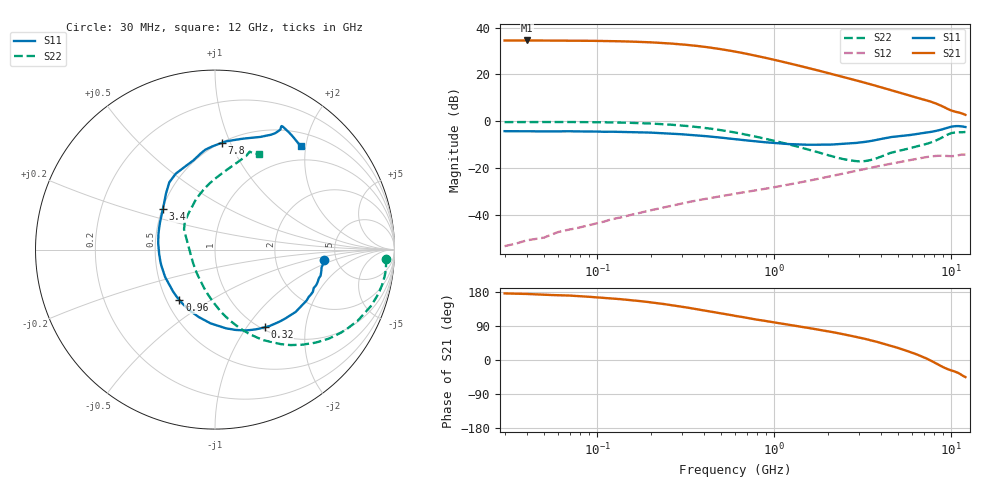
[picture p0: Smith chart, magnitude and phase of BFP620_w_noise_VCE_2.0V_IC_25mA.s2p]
! Infineon Technologies  Discrete & RF Semiconductors
! BFP620
! VCE =  2.0 V,  IC =  25 mA
! Common Emitter S-Parameters:  Nov 2015
# GHz  S  MA  R  50
!  f  S11  S21  S12  S22
! GHz  MAG  ANG  MAG  ANG  MAG  ANG  MAG  ANG
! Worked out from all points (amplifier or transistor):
!   239 points, 30 MHz to 12 GHz, reference 50 ohm
!   highest |S21| = 34.5 dB at 40 MHz (marker M1)
!   |S21| within 3 dB of that: start of sweep to 429.6 MHz
!   unconditionally stable (mu >= 1): 2.707 GHz to end of sweep
!   at 300 MHz: K = 0.33, MSG = 34.1 dB, |S12| = -35.3 dB
!   at 1.88 GHz: K = 0.93, MSG = 22.7 dB, |S12| = -24.3 dB
!   at 12 GHz: K = 1.10, MAG = 6.6 dB, |S12| = -14.3 dB
!   lowest NFmin = 1.05 dB at 450 MHz
!   S11 on the Smith chart (normalised r, x): 30 MHz: 3.97, -0.76; 320 MHz: 1.04, -1.22; 960 MHz: 0.58, -0.37; 3.4 GHz: 0.50, +0.26; 7.8 GHz: 0.50, +0.93; 12 GHz: 0.73, +1.90
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0.03  0.6096 -5.7  53.24 175.7  0.0021 76.4  0.9531 -3.0
0.04  0.6074 -7.8  53.39 174.3  0.0028 75.5  0.9561 -4.5
0.05  0.6022 -9.4  53.19 172.0  0.0032 78.2  0.9575 -5.9
0.07  0.6061 -13.9  53.09 170.0  0.0048 77.4  0.9569 -8.9
0.085  0.6 -16.4  52.6 167.6  0.0056 77.9  0.9531 -11.1
0.115  0.5919 -22.3  51.96 163.3  0.0075 76.9  0.9414 -15.4
0.15  0.584 -29.0  50.73 158.6  0.0095 75.1  0.9228 -20.1
0.195  0.5689 -36.8  48.88 152.9  0.012 73.2  0.8912 -25.8
0.24  0.5484 -44.4  46.83 147.4  0.0143 70.8  0.8561 -31.3
0.32  0.5136 -57.4  43.01 138.6  0.0181 67.2  0.7881 -39.8
0.4  0.482 -69.2  39.2 130.8  0.0213 64.4  0.7197 -47.4
0.45  0.4618 -75.7  36.87 126.7  0.0231 62.9  0.6789 -51.6
0.6  0.4116 -93.5  30.87 116.5  0.0279 59.9  0.5704 -62.1
0.8  0.3673 -112.6  24.81 106.4  0.0333 57.7  0.4584 -72.6
0.96  0.3441 -125.2  21.31 100.6  0.0375 56.8  0.3925 -79.3
1.2  0.3228 -141.1  17.44 93.1  0.0436 55.6  0.3185 -88.1
1.64  0.3118 -163.6  13.05 82.8  0.0548 53.3  0.2334 -103.1
2.4  0.3235 167.9  8.989 68.8  0.074 47.9  0.1566 -133.8
3.4  0.368 142.0  6.325 53.6  0.0981 38.9  0.1432 179.7
4.5  0.4531 124.2  4.672 38.1  0.1212 28.5  0.207 146.5
7.8  0.5955 86.4  2.548 -3.6  0.1767 -4.6  0.358 96.9
12  0.7483 50.4  1.363 -45.1  0.1918 -39.5  0.5858 65.0
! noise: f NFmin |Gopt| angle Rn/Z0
0.45  1.05  0.07  -148  0.1
0.9  1.05  0.13  -147  0.1
1.9  1.06  0.16  -140  0.1
2.4  1.09  0.18  -135  0.11
3.5  1.13  0.26  -96  0.15
5.5  1.38  0.31  -84  0.2
10  1.78  0.61  -46  0.85
